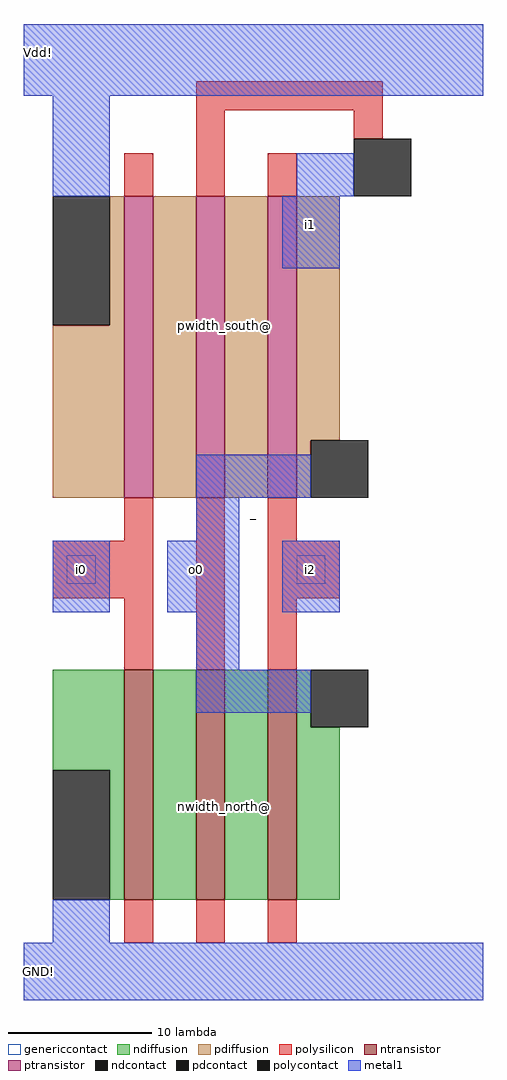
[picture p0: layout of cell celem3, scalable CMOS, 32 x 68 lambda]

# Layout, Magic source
magic
tech scmos
<< ntransistor >>
rect 5 4 7 20
rect 10 4 12 20
rect 15 4 17 20
<< ptransistor >>
rect 5 32 7 53
rect 10 32 12 53
rect 15 32 17 53
<< ndiffusion >>
rect 0 13 5 20
rect 4 4 5 13
rect 7 4 10 20
rect 12 4 15 20
rect 17 16 18 20
rect 17 4 20 16
<< pdiffusion >>
rect 4 44 5 53
rect 0 32 5 44
rect 7 32 10 53
rect 12 32 15 53
rect 17 36 20 53
rect 17 32 18 36
<< ndcontact >>
rect 0 4 4 13
rect 18 16 22 20
<< pdcontact >>
rect 0 44 4 53
rect 18 32 22 36
<< polysilicon >>
rect 10 59 23 61
rect 5 53 7 56
rect 10 53 12 59
rect 21 57 23 59
rect 15 53 17 56
rect 5 29 7 32
rect 0 25 7 29
rect 5 20 7 25
rect 10 20 12 32
rect 15 29 17 32
rect 15 25 20 29
rect 15 20 17 25
rect 5 1 7 4
rect 10 1 12 4
rect 15 1 17 4
<< polycontact >>
rect 21 53 25 57
<< genericcontact >>
rect 1 26 3 28
rect 17 26 19 28
<< metal1 >>
rect -2 60 30 65
rect 0 53 4 60
rect 17 53 21 56
rect 16 48 20 53
rect 10 32 18 35
rect 10 29 13 32
rect 0 24 4 29
rect 8 24 13 29
rect 16 24 20 29
rect 10 20 13 24
rect 10 17 18 20
rect 0 1 4 4
rect -2 -3 30 1
<< labels >>
rlabel metal1 -1 -1 -1 -1 2 GND!
rlabel metal1 -1 63 -1 63 3 Vdd!
rlabel metal1 2 27 2 27 1 i0
rlabel metal1 10 27 10 27 1 o0
rlabel metal1 18 27 18 27 7 i2
rlabel space -2 -5 30 67 1 _
rlabel metal1 18 51 18 51 1 i1
rlabel ndiffusion 4 4 20 17 1 nwidth_north@
rlabel pdiffusion 4 35 20 53 1 pwidth_south@
<< end >>
